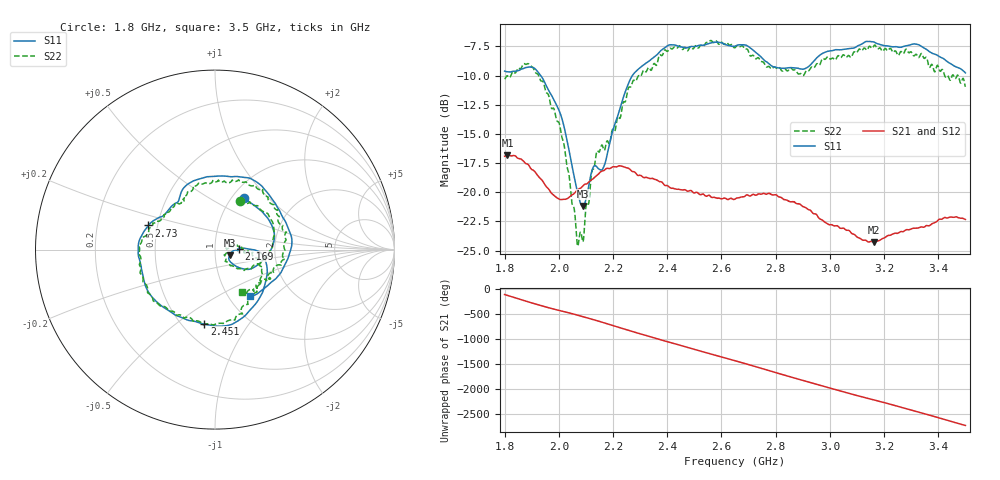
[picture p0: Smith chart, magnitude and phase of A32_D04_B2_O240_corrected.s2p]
! Created with skrf 1.9.0 (http://scikit-rf.org).
# Hz S RI R 50.0
!freq ReS11 ImS11 ReS21 ImS21 ReS12 ImS12 ReS22 ImS22
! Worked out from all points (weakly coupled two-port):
!   1601 points, 1.8 GHz to 3.5 GHz, reference 50 ohm
!   highest |S21| = -16.82 dB at 1.811 GHz (marker M1); lowest = -24.3 dB at 3.162 GHz (marker M2)
!   lowest |S11| = -21.2 dB at 2.089 GHz (marker M3), VSWR 1.19, Z = 58.7 - j3.83 ohm
!   |S11| at or under -10 dB: 1.933 GHz to 2.272 GHz (338.4 MHz wide, 16.1 % of centre)
!   |S22| runs from -24.6 to -7.0 dB; largest |S21 - S12| = 0.0023
!   S11 on the Smith chart (normalised r, x): 1.8 GHz: 1.14, +0.73; 2.169 GHz: 1.30, +0.01; 2.451 GHz: 0.64, -0.64; 2.73 GHz: 0.44, +0.14; 3.5 GHz: 1.25, -0.73
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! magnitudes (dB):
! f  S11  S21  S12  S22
! 1.8 GHz  -9.6  -16.9  -16.9  -10.3
! 1.811 GHz  -9.7  -16.8  -16.8  -10.0
! 1.883 GHz  -9.3  -17.6  -17.6  -9.0
! 1.942 GHz  -10.3  -19.1  -19.1  -10.6
! 2.007 GHz  -13.4  -20.6  -20.6  -14.7
! 2.067 GHz  -19.8  -19.9  -19.8  -24.2
! 2.084 GHz  -21.1  -19.6  -19.5  -23.6
! 2.089 GHz  -21.2  -19.5  -19.5  -24.3
! 2.131 GHz  -17.7  -18.7  -18.7  -17.8
! 2.169 GHz  -17.6  -18.1  -18.1  -16.4
! 2.263 GHz  -10.3  -18.1  -18.1  -11.0
! 2.367 GHz  -8.1  -19.0  -19.0  -8.5
! 2.451 GHz  -7.6  -19.8  -19.8  -7.6
! 2.65 GHz  -7.5  -20.6  -20.6  -7.6
! 2.73 GHz  -8.1  -20.2  -20.3  -8.5
! 2.808 GHz  -9.3  -20.4  -20.3  -9.3
! 2.898 GHz  -9.5  -21.2  -21.2  -9.9
! 2.934 GHz  -9.0  -21.7  -21.7  -9.3
! 3.162 GHz  -7.1  -24.3  -24.2  -7.5
! 3.217 GHz  -7.5  -23.7  -23.7  -7.8
! 3.326 GHz  -7.3  -23.1  -23.0  -8.4
! 3.5 GHz  -9.8  -22.3  -22.3  -11.0
